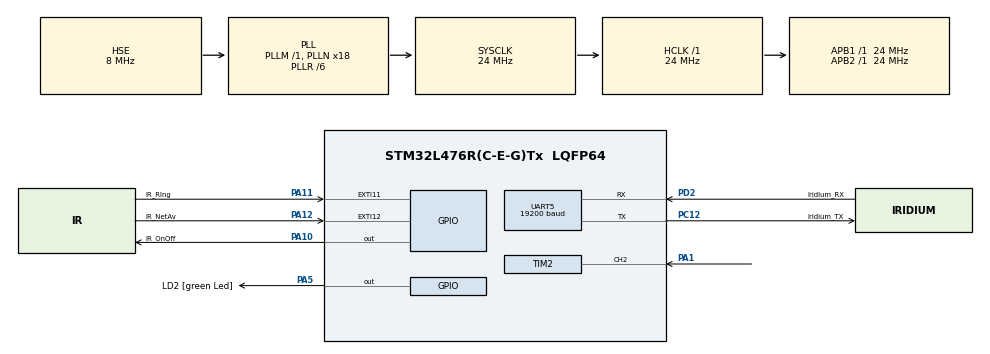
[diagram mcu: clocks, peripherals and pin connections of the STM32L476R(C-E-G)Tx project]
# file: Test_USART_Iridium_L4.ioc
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Dma.MEMTOMEM.1.Direction=DMA_MEMORY_TO_MEMORY
Dma.MEMTOMEM.1.Instance=DMA1_Channel2
Dma.MEMTOMEM.1.MemDataAlignment=DMA_MDATAALIGN_BYTE
Dma.MEMTOMEM.1.MemInc=DMA_MINC_ENABLE
Dma.MEMTOMEM.1.Mode=DMA_NORMAL
Dma.MEMTOMEM.1.PeriphDataAlignment=DMA_PDATAALIGN_BYTE
Dma.MEMTOMEM.1.PeriphInc=DMA_PINC_ENABLE
Dma.MEMTOMEM.1.Priority=DMA_PRIORITY_LOW
Dma.Request0=UART5_RX
Dma.Request1=MEMTOMEM
Dma.UART5_RX.0.Direction=DMA_PERIPH_TO_MEMORY
Dma.UART5_RX.0.Instance=DMA2_Channel2
Dma.UART5_RX.0.MemDataAlignment=DMA_MDATAALIGN_BYTE
Dma.UART5_RX.0.MemInc=DMA_MINC_ENABLE
Dma.UART5_RX.0.Mode=DMA_NORMAL
Dma.UART5_RX.0.PeriphDataAlignment=DMA_PDATAALIGN_BYTE
Dma.UART5_RX.0.PeriphInc=DMA_PINC_DISABLE
Dma.UART5_RX.0.Priority=DMA_PRIORITY_LOW
Mcu.Family=STM32L4
Mcu.Name=STM32L476R(C-E-G)Tx
Mcu.Package=LQFP64
NVIC.DMA1_Channel2_IRQn=true\:0\:0\:false\:false\:true\:true\:true
NVIC.DMA2_Channel2_IRQn=true\:0\:0\:false\:false\:true\:false\:true
NVIC.EXTI15_10_IRQn=true\:0\:0\:false\:false\:true\:true\:true
NVIC.PriorityGroup=NVIC_PRIORITYGROUP_4
NVIC.TIM2_IRQn=true\:0\:0\:false\:false\:true\:true\:true
NVIC.UART5_IRQn=true\:0\:0\:false\:false\:true\:true\:false
PA1.Signal=S_TIM2_CH2
PA10.GPIO_Label=IR_OnOff
PA10.Signal=GPIO_Output
PA11.GPIO_Label=IR_RIng
PA11.GPIO_PuPd=GPIO_PULLDOWN
PA11.Signal=GPXTI11
PA12.GPIO_Label=IR_NetAv
PA12.GPIO_PuPd=GPIO_PULLDOWN
PA12.Signal=GPXTI12
PA13\ (JTMS-SWDIO).GPIO_Label=TMS
PA13\ (JTMS-SWDIO).Mode=Serial_Wire
PA13\ (JTMS-SWDIO).Signal=SYS_JTMS-SWDIO
PA14\ (JTCK-SWCLK).GPIO_Label=TCK
PA14\ (JTCK-SWCLK).Mode=Serial_Wire
PA14\ (JTCK-SWCLK).Signal=SYS_JTCK-SWCLK
PA5.GPIO_Label=LD2 [green Led]
PA5.GPIO_ModeDefaultOutputPP=GPIO_MODE_OUTPUT_PP
PA5.GPIO_PuPd=GPIO_NOPULL
PA5.GPIO_Speed=GPIO_SPEED_FREQ_LOW
PA5.Signal=GPIO_Output
PB3\ (JTDO-TRACESWO).GPIO_Label=SWO
PB3\ (JTDO-TRACESWO).Signal=SYS_JTDO-SWO
PC12.GPIO_Label=Iridium_TX
PC12.Mode=Asynchronous
PC12.Signal=UART5_TX
PC14-OSC32_IN\ (PC14).Mode=LSE-External-Oscillator
PC14-OSC32_IN\ (PC14).Signal=RCC_OSC32_IN
PC15-OSC32_OUT\ (PC15).Mode=LSE-External-Oscillator
PC15-OSC32_OUT\ (PC15).Signal=RCC_OSC32_OUT
PD2.GPIO_Label=Iridium_RX
PD2.Mode=Asynchronous
PD2.Signal=UART5_RX
PH0-OSC_IN\ (PH0).Mode=HSE-External-Oscillator
PH0-OSC_IN\ (PH0).Signal=RCC_OSC_IN
PH1-OSC_OUT\ (PH1).Mode=HSE-External-Oscillator
PH1-OSC_OUT\ (PH1).Signal=RCC_OSC_OUT
ProjectManager.HeapSize=0x200
ProjectManager.StackSize=0x400
ProjectManager.TargetToolchain=TrueSTUDIO
RCC.ADCFreq_Value=32000000
RCC.AHBFreq_Value=24000000
RCC.APB1Freq_Value=24000000
RCC.APB1TimFreq_Value=24000000
RCC.APB2Freq_Value=24000000
RCC.APB2TimFreq_Value=24000000
RCC.CortexFreq_Value=24000000
RCC.HCLKFreq_Value=24000000
RCC.HSE_VALUE=8000000
RCC.HSI_VALUE=16000000
RCC.MSI_VALUE=4000000
RCC.PLLN=18
RCC.PLLR=RCC_PLLR_DIV6
RCC.PLLSourceVirtual=RCC_PLLSOURCE_HSE
RCC.PREFETCH_ENABLE=1
RCC.SYSCLKFreq_VALUE=24000000
RCC.SYSCLKSource=RCC_SYSCLKSOURCE_PLLCLK
RCC.USBFreq_Value=32000000
RCC.VCOOutputFreq_Value=144000000
SH.S_TIM2_CH2.0=TIM2_CH2,TriggerSource_TI2FP2
SH.S_TIM2_CH2.1=TIM2_CH2,Input_Capture2_from_TI2
TIM2.Channel-Input_Capture2_from_TI2=TIM_CHANNEL_2
TIM2.Channel-Output\ Compare1\ No\ Output=TIM_CHANNEL_1
TIM2.OCPolarity_1=TIM_OCPOLARITY_LOW
TIM2.Period=65536
TIM2.Pulse-Output\ Compare1\ No\ Output=1152000
UART5.BaudRate=19200
VP_TIM2_VS_ClockSourceINT.Mode=Internal
VP_TIM2_VS_ControllerModeReset.Mode=Reset Mode
VP_TIM2_VS_no_output1.Mode=Output Compare1 No Output
board=NUCLEO-L476RG

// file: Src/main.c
/* USER CODE BEGIN Header */
/**
  ******************************************************************************
  * @file           : main.c
  * @brief          : Main program body
  ******************************************************************************
  * @attention
  *
  * <h2><center>&copy; Copyright (c) 2020 STMicroelectronics.
  * All rights reserved.</center></h2>
  *
  * This software component is licensed by ST under BSD 3-Clause license,
  * the "License"; You may not use this file except in compliance with the
  * License. You may obtain a copy of the License at:
  *                        opensource.org/licenses/BSD-3-Clause
  *
  ******************************************************************************
  */
/* USER CODE END Header */

#include "main.h"

/* USER CODE BEGIN Includes */
#include "string.h"
#include "stdio.h"
#include "stdlib.h"
/* USER CODE END Includes */

/* USER CODE BEGIN PTD */
typedef enum
{
	IR_OK,
	IR_Rx_Error,
	IR_Tx_Error,
	IR_Rx_Incplt,
	IR_Rx_Timeout,
	IR_Data_Error,
	IR_Ack_Error,
	IR_CFG_Error,
	IR_MSG_UPLOAD_ERROR,
	IR_MSG_UPLOAD_OK,
	IR_SBDWB_STATUS_ERROR,
	IR_SBDWB_TIMEOUT,
	IR_SBDWB_MSGOVERRUN_ERROR,
	IR_SBDWB_CHECKSUM_ERROR,
	IR_SBDIX_SESSION_ERROR,
	IR_SBDIX_NO_NEW_MESSAGE,
	IR_SBDIX_MAIL_CHECK_ERROR,
	IR_SBDRT_Rx_Error,
	IR_CSQ_Ack_Error
} IR_Status_t;

typedef enum
{
	NONE,
	SBDWB,
	SBDIX,
	SBDRT

}Session_t;
typedef struct
{
	uint8_t MO_Status;
	uint32_t MO_MSN;
	uint8_t MT_Status;
	uint32_t MT_MSN,MT_length,MT_Queued;

} SBDX_Status_t;
/* USER CODE END PTD */

/* USER CODE BEGIN PD */
#define TX_BUFFER_SIZE 2046
#define RX_BUFFER_SIZE 2046
#define RM_BUFFER_SIZE 500
#define ASCII_MSG_BYTE_LEN 9

//control pin definitions
/* USER CODE END PD */

TIM_HandleTypeDef htim2;

UART_HandleTypeDef huart5;
DMA_HandleTypeDef hdma_uart5_rx;

DMA_HandleTypeDef hdma_memtomem_dma1_channel2;
/* USER CODE BEGIN PV */
int8_t RX_Flag,TIM_IDLE_Timeout;
Session_t Session_Flag;
uint8_t RX_Buffer[RX_BUFFER_SIZE];
uint8_t TX_Buffer[TX_BUFFER_SIZE];
uint8_t RM_Buffer[RM_BUFFER_SIZE];
uint32_t gnss_length;
uint32_t msg_len;
/* USER CODE END PV */

void SystemClock_Config(void);
static void MX_GPIO_Init(void);
static void MX_DMA_Init(void);
static void MX_UART5_Init(void);
static void MX_TIM2_Init(void);
/* USER CODE BEGIN PFP */
void DMA_Iridium_Periph_IRQHandler(UART_HandleTypeDef *huart);
void USART_Iridium_IRQHandler(UART_HandleTypeDef *huart);
IR_Status_t send_AT_CMD(char* cmd);
/* USER CODE END PFP */

/* USER CODE BEGIN 0 */
void  Clear_Buffer(uint8_t *buffer,uint32_t size)
{
	memset(buffer,0,size);
}

uint16_t calculate_checkSum(uint8_t* messagebuff, uint8_t size)
{
	uint32_t sum = 0;
	for (int i = 0; i < size; ++i)
	{
		sum+= messagebuff[i];
	}
	//return last 16 bits
	return (uint16_t)(sum & 0xFFFF);
}

IR_Status_t IR_Init_Module(void)
{
	 MX_GPIO_Init();
	 MX_DMA_Init();
	 MX_UART5_Init();
	 MX_TIM2_Init();

	  //send acknowledgement
	 char* msg;
	 if(send_AT_CMD("AT\r")== IR_OK)
	 {
	 	msg = strtok((char*)(&RM_Buffer[2]),"\r");
	 	if(strcmp(msg,(char*)"OK") != 0)
	 	{
	 	  return IR_Ack_Error;
	 	}
	 }else
	 {
	 	  return IR_Ack_Error;
	 }
	 	  //analyse message
	 	  Clear_Buffer(RM_Buffer,RM_BUFFER_SIZE);
	 	  return IR_OK;
}

IR_Status_t get_Signal_Strength(uint8_t* signal_Strength)
{
	  char* msg;
	  if(send_AT_CMD("AT\r")== IR_OK)
	  {
		  msg = strtok((char*)(&RM_Buffer[2]),"\r");
		  if(strcmp(msg,(char*)"OK") != 0)
		  {
		    return IR_Ack_Error;
		  }
	  }else
	  {
		  return IR_Ack_Error;
	  }
	  //analyse message
	  Clear_Buffer(RM_Buffer,RM_BUFFER_SIZE);
	  if( send_AT_CMD("AT&K0\r") == IR_OK)
	  {
			msg = strtok((char*)(&RM_Buffer[2]),"\r");
			if(strcmp(msg,(char*)"OK") != 0)
			{
				return IR_CFG_Error;
			}
	  }
	  else
	  {
		return IR_CFG_Error;
	  }
	  Clear_Buffer(RM_Buffer,RM_BUFFER_SIZE);
	  Session_Flag = SBDIX;
	  if(send_AT_CMD("AT+CSQ\r")!= IR_OK)
	  {
		  return IR_Data_Error;
	  }
	  char* sig = strtok((char*)&RM_Buffer[7],"\r\n");
	  msg =  strtok(NULL,"\r\n");
	  if(strcmp(msg,"OK") != 0)
	  {
		  return IR_CSQ_Ack_Error;
	  }

	  *signal_Strength = atoi(sig);
	  return IR_OK;
}
IR_Status_t start_SBD_Session(SBDX_Status_t* sbd)
{
	//increase prescaler to lengthen timeout
	htim2.Instance->PSC = 750;
	Session_Flag = SBDIX;
	char* cmd = "AT+SBDIX\r";
	int size = strlen(cmd);
		memcpy(TX_Buffer,cmd,size);
		if(HAL_UART_Transmit(&huart5,TX_Buffer,size,100) != HAL_OK)
		{
			return IR_Tx_Error;
		}
		__HAL_DMA_ENABLE_IT(&hdma_uart5_rx,DMA_IT_TC);
		if(__HAL_UART_GET_FLAG(&huart5,UART_FLAG_IDLE))
		{
			__HAL_UART_CLEAR_IDLEFLAG(&huart5);
		}
		__HAL_UART_ENABLE_IT(&huart5,UART_IT_IDLE);
		HAL_UART_Receive_DMA(&huart5,RX_Buffer,RX_BUFFER_SIZE);
		__HAL_TIM_DISABLE_IT(&htim2,TIM_IT_CC1);
		__HAL_TIM_ENABLE_IT(&htim2,TIM_IT_UPDATE);
		HAL_NVIC_ClearPendingIRQ(TIM2_IRQn);
		__HAL_TIM_ENABLE(&htim2);
		while(RX_Flag == RESET);
		if(RX_Flag == -2)
		{
			return IR_Rx_Timeout;
		}if(RX_Flag == -1)
		{
			return IR_Rx_Error;
		}
		RX_Flag = RESET;
		//decode SBD Message
		char* status = strtok((char*)&RM_Buffer[2],"\r\n");
		char* msg = strtok(NULL,"\r\n");
		if(strcmp(msg,"OK") != 0)
		{
			return IR_SBDIX_SESSION_ERROR;
		}
		char* temp = strtok(&status[7],", ");
		int temp_sbd[6] = {atoi(temp),0};
		int count = 1;
		while(temp != NULL)
		{
			temp = strtok(NULL, ", ");
			temp_sbd[count++] = atoi(temp);
		}
		sbd->MO_Status= temp_sbd[0];
		sbd->MO_MSN = temp_sbd[1];
		sbd->MT_Status = temp_sbd[2];
		sbd->MT_MSN = temp_sbd[3];
		sbd->MT_length = temp_sbd[4];
		sbd->MT_Queued = temp_sbd[5];
		//reset prescaler
		htim2.Instance->PSC = 1;
		return IR_OK;

}

IR_Status_t send_Bin_String(uint8_t* bin_string,uint32_t len)
{

	  char* msg;
	  if(send_AT_CMD("AT\r")== IR_OK)
	  {
		  msg = strtok((char*)(&RM_Buffer[2]),"\r");
		  if(strcmp(msg,(char*)"OK") != 0)
		  {
		    return IR_Ack_Error;
		  }
	  }else
	  {
		  return IR_Ack_Error;
	  }
	  //analyse message
	  Clear_Buffer(RM_Buffer,RM_BUFFER_SIZE);
	  if( send_AT_CMD("AT&K0\r") == IR_OK)
	  {
			msg = strtok((char*)(&RM_Buffer[2]),"\r");
			if(strcmp(msg,(char*)"OK") != 0)
			{
				return IR_CFG_Error;
			}
	  }
	  else
	  {
		return IR_CFG_Error;
	  }
	  Clear_Buffer(RM_Buffer,RM_BUFFER_SIZE);
	  //prepare Iridium for binary message reception
	  sprintf((char*)TX_Buffer,"AT+SBDWB=%lu\r",len);
	  if(send_AT_CMD((char*)TX_Buffer) == IR_OK)
	  {
		  Clear_Buffer(TX_Buffer,TX_BUFFER_SIZE);
		  msg = strtok((char*)(&RM_Buffer[2]),"\r");
		  if(strcmp(msg,(char*)"READY") != 0)
		  {
		  	return IR_CFG_Error;
		  }
	  }
	  Clear_Buffer(RM_Buffer,RM_BUFFER_SIZE);
	  //create a binary message complete with checksum
	  memcpy(TX_Buffer,bin_string,len);
	  uint16_t temp = calculate_checkSum(bin_string,len);
	  uint8_t check_sum[3]  = {(uint8_t)((temp&0xFF00)>>8),(uint8_t)temp&0xFF,0x0d};
	  memcpy(&TX_Buffer[len],check_sum,3);
	  //upload to message buffer
	  Session_Flag = SBDWB;
	  send_AT_CMD((char*)TX_Buffer);
	  Session_Flag = NONE;
	  msg = strtok((char*)(&RM_Buffer[2]),"\r\n");
	  int8_t ret_val = *(msg) -48;
	  msg = strtok(NULL,"\r\n");
	  if(ret_val < 0 || ret_val > 9)
	  {
		  return IR_SBDWB_STATUS_ERROR;
	  }
	  if(strcmp(msg,(char*)"OK") == 0)
	 {
		  switch(ret_val)
	  	  {
	  	  	  case 0:
	  		  	  return IR_MSG_UPLOAD_OK;
	  	  	  case 1:
	  		  	  return IR_SBDWB_TIMEOUT;
	  	  	  case 2:
	  		  	  return IR_SBDWB_CHECKSUM_ERROR;
	  	  	  case 3:
	  		  	  return IR_SBDWB_MSGOVERRUN_ERROR;
	  	  }
	 	 }
	  //decode return pack
	  //return status

	  return IR_MSG_UPLOAD_ERROR;
}

IR_Status_t send_String(char* string)
{
	  uint32_t len = strlen(string);
	  char* msg;
	  if(send_AT_CMD("AT\r")== IR_OK)
	  {
		  msg = strtok((char*)(&RM_Buffer[2]),"\r");
		  if(strcmp(msg,(char*)"OK") != 0)
		  {
		    return IR_Ack_Error;
		  }
	  }else
	  {
		  return IR_Ack_Error;
	  }
	  //analyse message
	  Clear_Buffer(RM_Buffer,RM_BUFFER_SIZE);
	  if( send_AT_CMD("AT&K0\r") == IR_OK)
	  {
			msg = strtok((char*)(&RM_Buffer[2]),"\r");
			if(strcmp(msg,(char*)"OK") != 0)
			{
				return IR_CFG_Error;
			}
	  }
	  else
	  {
		return IR_CFG_Error;
	  }
		Clear_Buffer(RM_Buffer,RM_BUFFER_SIZE);
		//create string with message
	    memcpy(TX_Buffer,(const char*)"AT+SBDWT=",ASCII_MSG_BYTE_LEN);
		memcpy(&TX_Buffer[ASCII_MSG_BYTE_LEN],string,len);
		__HAL_TIM_SET_COMPARE(&htim2,TIM_CHANNEL_1,0xFFFFFFFF);
		if(send_AT_CMD((char*)TX_Buffer) == IR_OK)
		{
			msg = strtok((char*)(&RM_Buffer[2]),"\r");
			if(strcmp(msg,(char*)"OK") != 0)
			{
				return IR_MSG_UPLOAD_ERROR;
			}
	}
	  return IR_MSG_UPLOAD_OK;
}

IR_Status_t recieve_String(uint8_t* MSG_Buff,uint32_t MSG_BUFF_SIZE, uint16_t *num_messages)
{
	  char* msg;
	  if(send_AT_CMD("AT\r")== IR_OK)
	  {
		  msg = strtok((char*)(&RM_Buffer[2]),"\r");
		  if(strcmp(msg,(char*)"OK") != 0)
		  {
		    return IR_Ack_Error;
		  }
	  }else
	  {
		  return IR_Ack_Error;
	  }
	  //analyse message
	  Clear_Buffer(RM_Buffer,RM_BUFFER_SIZE);
	  if( send_AT_CMD("AT&K0\r") == IR_OK)
	  {
			msg = strtok((char*)(&RM_Buffer[2]),"\r");
			if(strcmp(msg,(char*)"OK") != 0)
			{
				return IR_CFG_Error;
			}
	  }
	  else
	  {
		return IR_CFG_Error;
	  }
	  Clear_Buffer(RM_Buffer,RM_BUFFER_SIZE);
	SBDX_Status_t sbd;
	IR_Status_t flag = start_SBD_Session(&sbd);

	if(flag != IR_OK)
	{
		return flag;
	}
	//check SBDIX return status of mobile Terminated buffer
	switch(sbd.MT_Status)
	{
	case 0:
		return IR_SBDIX_NO_NEW_MESSAGE;
	case 2:
		return IR_SBDIX_MAIL_CHECK_ERROR;
	default:
		break;
	}
	// Download Message to your controller
	*num_messages = sbd.MT_Queued;
	Clear_Buffer(RM_Buffer,RM_BUFFER_SIZE);
	Session_Flag = SBDRT;
	if(send_AT_CMD("AT+SBDRT\r") != IR_OK)
	{
		return IR_SBDRT_Rx_Error;
	}
	// SBDRT return type : +SBDRT\r\n<msg>\r\n<return_status>
	char* temp = strtok((char*)&RM_Buffer[10],"\r\n");
	msg = strtok(NULL,"\r\n");
	 if(strcmp(msg,(char*)"OK") != 0)
	 {
		return IR_Ack_Error;
	 }
	memcpy(MSG_Buff,temp,strlen(temp));
 	return IR_OK;
}

void DMA_Iridium_Periph_IRQHandler(UART_HandleTypeDef *huart)
{

	huart->hdmarx->DmaBaseAddress->IFCR |= (DMA_IFCR_CTCIF2|DMA_IFCR_CGIF2);
	HAL_TIM_Base_Stop_IT(&htim2);
	__HAL_TIM_CLEAR_IT(&htim2, TIM_IT_CC1|TIM_IT_UPDATE);

	__HAL_UART_CLEAR_IDLEFLAG(&huart5);
	__HAL_UART_DISABLE_IT(&huart5,UART_IT_IDLE);
	__HAL_TIM_DISABLE_IT(&htim2,TIM_IT_CC1);

	if(__HAL_TIM_GET_FLAG(&htim2,TIM_FLAG_CC1))
	{
		__HAL_TIM_CLEAR_FLAG(&htim2,TIM_FLAG_CC1);
	}
	//begin transfer of collected data to memory
    uint8_t* ind = (uint8_t*)strchr((char*)RX_Buffer,'\r')+1;
	int len = (ind - RX_Buffer)+1; // chope off the \0
	msg_len = gnss_length -len-1;
	if(len > 0)
	{
	   	__HAL_DMA_ENABLE_IT(&hdma_memtomem_dma1_channel2,DMA_IT_TC);
	   	HAL_DMA_Start(&hdma_memtomem_dma1_channel2,(uint32_t)(&RX_Buffer[len]),(uint32_t)RM_Buffer,msg_len);
	}
	TIM_IDLE_Timeout = RESET;

}

void DMA_Iridium_MEM_IRQHandler(DMA_HandleTypeDef *hdma_mem)
{
	//clear the rx buffer
	Clear_Buffer(RX_Buffer,RX_BUFFER_SIZE);
	msg_len = strlen((char*)RM_Buffer);
	//check message to see if valid
	//valid messages follow the format "\r\nMSG_STRING\r\n"
	if((RM_Buffer[0] == '\r') && (RM_Buffer[1] =='\n') &&(RM_Buffer[msg_len - 2] == '\r') && (RM_Buffer[msg_len -1] == '\n' ))
	{
		RX_Flag = SET;
	}else
	{
		//invalid message returned
		RX_Flag = -1;
	}
	__HAL_DMA_CLEAR_FLAG(hdma_mem,DMA_FLAG_TC2);
	if(__HAL_DMA_GET_FLAG(hdma_mem,DMA_FLAG_HT2))
	{
		__HAL_DMA_CLEAR_FLAG(hdma_mem,DMA_FLAG_HT2);
	}
}

void USART_TIM_RTO_Handler(TIM_HandleTypeDef *htim)
{
	if(__HAL_TIM_GET_IT_SOURCE(htim,TIM_IT_CC1))
	{
		//clear interrupt
		htim->Instance->CR1 &= ~TIM_CR1_CEN;
		__HAL_TIM_CLEAR_IT(htim, TIM_IT_CC1|TIM_IT_UPDATE);
		//set reciever timeout flag
		TIM_IDLE_Timeout = 1;
		//disable timer
		HAL_TIM_Base_Stop_IT(htim);
		HAL_TIM_OC_Stop_IT(&htim2,TIM_CHANNEL_1);
		__HAL_TIM_SET_COUNTER(htim,0);
		USART_Iridium_IRQHandler(&huart5);
	}
	if(__HAL_TIM_GET_IT_SOURCE(htim,TIM_IT_UPDATE))
	{
		__HAL_TIM_CLEAR_IT(htim, TIM_IT_CC1|TIM_IT_UPDATE);
		if(Session_Flag == SBDIX)
		{
			Session_Flag = NONE;
		}else
		{
			TIM_IDLE_Timeout = 1;
			HAL_TIM_Base_Stop_IT(htim);
			USART_Iridium_IRQHandler(&huart5);
		}
		__NOP();

	}
}

void USART_Iridium_IRQHandler(UART_HandleTypeDef *huart)
{
	if(__HAL_UART_GET_IT_SOURCE(huart,UART_IT_IDLE))
	{
		uint32_t temp = huart->Instance->ISR;
		temp = huart->Instance->RDR;
		(void)temp;
		//check for reciever timeout
		if(TIM_IDLE_Timeout)
		{
			//check data counter
			HAL_UART_DMAStop(huart);
			gnss_length = (sizeof(RX_Buffer)/sizeof(RX_Buffer[0])) - __HAL_DMA_GET_COUNTER(huart->hdmarx);
			if(gnss_length > 0)
			{
				// transfer incomplete, move transfered data to message buffer
				uint8_t* ind;
				int len;
				if(Session_Flag == SBDWB)
				{
					ind = (uint8_t*)strchr((char*)RX_Buffer,'\r');
					len = strlen((char*)ind);
				}else if (Session_Flag == SBDRT)
				{
					ind = (uint8_t*)strchr((char*)RX_Buffer,'\r') + 1 ;
					len = strlen((char*)ind);
				}
				else
				{
					if(strcmp((char*)RX_Buffer,"AT+SBDIX\r") != 0)
					{
						ind = (uint8_t*)strchr((char*)RX_Buffer,'\r')+1;
						len = (ind - RX_Buffer) -1; // chope off the \0
						msg_len = gnss_length -len-1;
					}else
					{
						len = 0;
					}

				}

			    if(len > 0)
			    {
			    	__HAL_DMA_ENABLE_IT(&hdma_memtomem_dma1_channel2,DMA_IT_TC);
			    	if(Session_Flag == SBDWB || Session_Flag == SBDRT)
			    	{
			    		HAL_DMA_Start(&hdma_memtomem_dma1_channel2,(uint32_t)(ind),(uint32_t)RM_Buffer,len);
			    	}else
			    	{
			    		HAL_DMA_Start(&hdma_memtomem_dma1_channel2,(uint32_t)(&RX_Buffer[len+1]),(uint32_t)RM_Buffer,msg_len);
			    	}
			    }else
			    {
			    	RX_Flag = -1;
			    }
			    (void)ind;

			}else
			{
				//reciever timeout
				RX_Flag = -2;
			}
			TIM_IDLE_Timeout = 0;
			__HAL_UART_CLEAR_IDLEFLAG(huart);
			__HAL_UART_DISABLE_IT(huart,UART_IT_IDLE);
		}
		__HAL_UART_CLEAR_IDLEFLAG(huart);
	}
	if(__HAL_UART_GET_IT_SOURCE(huart,UART_IT_ERR))
	{
		//clear framing error
		if(__HAL_UART_GET_FLAG(huart,UART_FLAG_FE) == SET)
		{
			__HAL_UART_CLEAR_FEFLAG(huart);
		}
		//clear noise error
		if(__HAL_UART_GET_FLAG(huart,UART_FLAG_NE) == SET)
		{
			__HAL_UART_CLEAR_NEFLAG(huart);
		}
		//clear overun error
		if(__HAL_UART_GET_FLAG(huart,UART_FLAG_ORE) == SET)
		{
			uint8_t temp = huart->Instance->RDR;
			(void)temp;
			__HAL_UART_CLEAR_OREFLAG(huart);
		}
		//clear parity errors
		if(__HAL_UART_GET_FLAG(huart,UART_FLAG_PE) == SET)
		{
			__HAL_UART_CLEAR_PEFLAG(huart);
		}
	}
}

void Iridium_ControlPin_IRQHandler(void)
{
	if(__HAL_GPIO_EXTI_GET_IT(IR_RIng_Pin))
	{
		__HAL_GPIO_EXTI_CLEAR_IT(IR_RIng_Pin);
		//download messages
		HAL_GPIO_WritePin(LD2_GPIO_Port,LD2_Pin,SET);
	}

	if(__HAL_GPIO_EXTI_GET_IT(IR_NetAv_Pin))
	{
		__HAL_GPIO_EXTI_CLEAR_IT(IR_NetAv_Pin);

	}
}
IR_Status_t send_AT_CMD(char* cmd)

{
	int size = strlen(cmd);
	memcpy(TX_Buffer,cmd,size);
	if(HAL_UART_Transmit(&huart5,TX_Buffer,size,100) != HAL_OK)
	{
		return IR_Tx_Error;
	}
	__HAL_DMA_ENABLE_IT(&hdma_uart5_rx,DMA_IT_TC);
	if(__HAL_UART_GET_FLAG(&huart5,UART_FLAG_IDLE))
	{
		__HAL_UART_CLEAR_IDLEFLAG(&huart5);
	}
	__HAL_UART_ENABLE_IT(&huart5,UART_IT_IDLE);
	HAL_UART_Receive_DMA(&huart5,RX_Buffer,RX_BUFFER_SIZE);
	__HAL_TIM_ENABLE_IT(&htim2,TIM_IT_CC1);
	HAL_TIM_OC_Start_IT(&htim2, TIM_CHANNEL_1);
	HAL_TIM_Base_Start_IT(&htim2);
	while(RX_Flag == RESET);
	if(RX_Flag == -2)
	{
		return IR_Rx_Timeout;
	}if(RX_Flag == -1)
	{
		return IR_Rx_Error;
	}
	RX_Flag = 0;
	return IR_OK;
}
/* USER CODE END 0 */

int main(void)
{

  /* MCU Configuration--------------------------------------------------------*/

  /* Reset of all peripherals, Initializes the Flash interface and the Systick. */
  HAL_Init();

  /* Configure the system clock */
  SystemClock_Config();

  /* USER CODE BEGIN SysInit */
  	  IR_Init_Module();
  	  uint8_t signal;
  	  get_Signal_Strength(&signal);
  /* USER CODE END SysInit */

  /* Initialize all configured peripherals */

  /* USER CODE BEGIN 2 */
//==================TEST Transmission==========================//
//  uint8_t msg[24] = "This is A Test in Binary";
//  if(send_Bin_String(msg,24) == IR_MSG_UPLOAD_OK)
//  {
//	  SBDX_Status_t sbd;
//	  while(1)
//	  {
//		  if(start_SBD_Session(&sbd) == IR_OK)
//		 {
//		 		  //check return status
//		 		  if(sbd.MO_Status == 0)
//		 		  {
//		 			  //message sent
//		 			  HAL_GPIO_WritePin(LD2_GPIO_Port,LD2_Pin,SET);
//		 			  break;
//		 		  }
//		 		  Clear_Buffer(RM_Buffer,RM_BUFFER_SIZE);
//		 }
//	  }
//  }
//==================TEST Reception==========================//
//
//  uint8_t msg[50] = {0};
//  uint16_t num_messages;
//  if(recieve_String(msg,50,&num_messages) == IR_OK)
//  {
//
//  }
//================Test control pins=======================//

  /* USER CODE END 2 */

  /* Infinite loop */
  while (1)
  {

  }
}

void SystemClock_Config(void)
{
  RCC_OscInitTypeDef RCC_OscInitStruct = {0};
  RCC_ClkInitTypeDef RCC_ClkInitStruct = {0};
  RCC_PeriphCLKInitTypeDef PeriphClkInit = {0};

  /** Initializes the CPU, AHB and APB busses clocks
  */
  RCC_OscInitStruct.OscillatorType = RCC_OSCILLATORTYPE_HSE;
  RCC_OscInitStruct.HSEState = RCC_HSE_ON;
  RCC_OscInitStruct.PLL.PLLState = RCC_PLL_ON;
  RCC_OscInitStruct.PLL.PLLSource = RCC_PLLSOURCE_HSE;
  RCC_OscInitStruct.PLL.PLLM = 1;
  RCC_OscInitStruct.PLL.PLLN = 18;
  RCC_OscInitStruct.PLL.PLLP = RCC_PLLP_DIV7;
  RCC_OscInitStruct.PLL.PLLQ = RCC_PLLQ_DIV2;
  RCC_OscInitStruct.PLL.PLLR = RCC_PLLR_DIV6;
  if (HAL_RCC_OscConfig(&RCC_OscInitStruct) != HAL_OK)
  {
    Error_Handler();
  }
  /** Initializes the CPU, AHB and APB busses clocks
  */
  RCC_ClkInitStruct.ClockType = RCC_CLOCKTYPE_HCLK|RCC_CLOCKTYPE_SYSCLK
                              |RCC_CLOCKTYPE_PCLK1|RCC_CLOCKTYPE_PCLK2;
  RCC_ClkInitStruct.SYSCLKSource = RCC_SYSCLKSOURCE_PLLCLK;
  RCC_ClkInitStruct.AHBCLKDivider = RCC_SYSCLK_DIV1;
  RCC_ClkInitStruct.APB1CLKDivider = RCC_HCLK_DIV1;
  RCC_ClkInitStruct.APB2CLKDivider = RCC_HCLK_DIV1;

  if (HAL_RCC_ClockConfig(&RCC_ClkInitStruct, FLASH_LATENCY_1) != HAL_OK)
  {
    Error_Handler();
  }
  PeriphClkInit.PeriphClockSelection = RCC_PERIPHCLK_UART5;
  PeriphClkInit.Uart5ClockSelection = RCC_UART5CLKSOURCE_PCLK1;
  if (HAL_RCCEx_PeriphCLKConfig(&PeriphClkInit) != HAL_OK)
  {
    Error_Handler();
  }
  /** Configure the main internal regulator output voltage
  */
  if (HAL_PWREx_ControlVoltageScaling(PWR_REGULATOR_VOLTAGE_SCALE1) != HAL_OK)
  {
    Error_Handler();
  }
}

static void MX_TIM2_Init(void)
{

  TIM_ClockConfigTypeDef sClockSourceConfig = {0};
  TIM_SlaveConfigTypeDef sSlaveConfig = {0};
  TIM_MasterConfigTypeDef sMasterConfig = {0};
  TIM_OC_InitTypeDef sConfigOC = {0};
  TIM_IC_InitTypeDef sConfigIC = {0};

  htim2.Instance = TIM2;
  htim2.Init.Prescaler = 0;
  htim2.Init.CounterMode = TIM_COUNTERMODE_UP;
  htim2.Init.Period = 65536;
  htim2.Init.ClockDivision = TIM_CLOCKDIVISION_DIV1;
  htim2.Init.AutoReloadPreload = TIM_AUTORELOAD_PRELOAD_DISABLE;
  if (HAL_TIM_Base_Init(&htim2) != HAL_OK)
  {
    Error_Handler();
  }
  sClockSourceConfig.ClockSource = TIM_CLOCKSOURCE_INTERNAL;
  if (HAL_TIM_ConfigClockSource(&htim2, &sClockSourceConfig) != HAL_OK)
  {
    Error_Handler();
  }
  if (HAL_TIM_OC_Init(&htim2) != HAL_OK)
  {
    Error_Handler();
  }
  if (HAL_TIM_IC_Init(&htim2) != HAL_OK)
  {
    Error_Handler();
  }
  sSlaveConfig.SlaveMode = TIM_SLAVEMODE_RESET;
  sSlaveConfig.InputTrigger = TIM_TS_TI2FP2;
  sSlaveConfig.TriggerPolarity = TIM_INPUTCHANNELPOLARITY_RISING;
  sSlaveConfig.TriggerFilter = 0;
  if (HAL_TIM_SlaveConfigSynchronization(&htim2, &sSlaveConfig) != HAL_OK)
  {
    Error_Handler();
  }
  sMasterConfig.MasterOutputTrigger = TIM_TRGO_RESET;
  sMasterConfig.MasterSlaveMode = TIM_MASTERSLAVEMODE_DISABLE;
  if (HAL_TIMEx_MasterConfigSynchronization(&htim2, &sMasterConfig) != HAL_OK)
  {
    Error_Handler();
  }
  sConfigOC.OCMode = TIM_OCMODE_TIMING;
  sConfigOC.Pulse = 1152000;
  sConfigOC.OCPolarity = TIM_OCPOLARITY_LOW;
  sConfigOC.OCFastMode = TIM_OCFAST_DISABLE;
  if (HAL_TIM_OC_ConfigChannel(&htim2, &sConfigOC, TIM_CHANNEL_1) != HAL_OK)
  {
    Error_Handler();
  }
  sConfigIC.ICPolarity = TIM_INPUTCHANNELPOLARITY_RISING;
  sConfigIC.ICSelection = TIM_ICSELECTION_DIRECTTI;
  sConfigIC.ICPrescaler = TIM_ICPSC_DIV1;
  sConfigIC.ICFilter = 0;
  if (HAL_TIM_IC_ConfigChannel(&htim2, &sConfigIC, TIM_CHANNEL_2) != HAL_OK)
  {
    Error_Handler();
  }
  /* USER CODE BEGIN TIM2_Init 2 */
  __HAL_TIM_CLEAR_IT(&htim2,TIM_IT_UPDATE);
  /* USER CODE END TIM2_Init 2 */

}

static void MX_UART5_Init(void)
{

  huart5.Instance = UART5;
  huart5.Init.BaudRate = 19200;
  huart5.Init.WordLength = UART_WORDLENGTH_8B;
  huart5.Init.StopBits = UART_STOPBITS_1;
  huart5.Init.Parity = UART_PARITY_NONE;
  huart5.Init.Mode = UART_MODE_TX_RX;
  huart5.Init.HwFlowCtl = UART_HWCONTROL_NONE;
  huart5.Init.OverSampling = UART_OVERSAMPLING_16;
  huart5.Init.OneBitSampling = UART_ONE_BIT_SAMPLE_DISABLE;
  huart5.AdvancedInit.AdvFeatureInit = UART_ADVFEATURE_NO_INIT;
  if (HAL_UART_Init(&huart5) != HAL_OK)
  {
    Error_Handler();
  }

}

static void MX_DMA_Init(void)
{
  if(DMA2_Channel2->CCR != 0)
  {
   //clear channel to reset state
   hdma_uart5_rx.Instance = DMA2_Channel2;
   hdma_uart5_rx.DmaBaseAddress->ISR = DMA2->ISR;
   hdma_uart5_rx.ChannelIndex = 2;
   HAL_DMA_DeInit(&hdma_uart5_rx);
  }
  /* DMA controller clock enable */
  __HAL_RCC_DMA2_CLK_ENABLE();
  __HAL_RCC_DMA1_CLK_ENABLE();

  /* Configure DMA request hdma_memtomem_dma1_channel2 on DMA1_Channel2 */
  hdma_memtomem_dma1_channel2.Instance = DMA1_Channel2;
  hdma_memtomem_dma1_channel2.Init.Request = DMA_REQUEST_0;
  hdma_memtomem_dma1_channel2.Init.Direction = DMA_MEMORY_TO_MEMORY;
  hdma_memtomem_dma1_channel2.Init.PeriphInc = DMA_PINC_ENABLE;
  hdma_memtomem_dma1_channel2.Init.MemInc = DMA_MINC_ENABLE;
  hdma_memtomem_dma1_channel2.Init.PeriphDataAlignment = DMA_PDATAALIGN_BYTE;
  hdma_memtomem_dma1_channel2.Init.MemDataAlignment = DMA_MDATAALIGN_BYTE;
  hdma_memtomem_dma1_channel2.Init.Mode = DMA_NORMAL;
  hdma_memtomem_dma1_channel2.Init.Priority = DMA_PRIORITY_LOW;
  if (HAL_DMA_Init(&hdma_memtomem_dma1_channel2) != HAL_OK)
  {
    Error_Handler( );
  }

  /* DMA interrupt init */
  HAL_NVIC_ClearPendingIRQ(DMA2_Channel2_IRQn);
  /* DMA1_Channel2_IRQn interrupt configuration */
  HAL_NVIC_SetPriority(DMA1_Channel2_IRQn, 0, 0);
  HAL_NVIC_EnableIRQ(DMA1_Channel2_IRQn);
  /* DMA2_Channel2_IRQn interrupt configuration */
  HAL_NVIC_SetPriority(DMA2_Channel2_IRQn, 0, 0);
  HAL_NVIC_EnableIRQ(DMA2_Channel2_IRQn);

}

static void MX_GPIO_Init(void)
{
  GPIO_InitTypeDef GPIO_InitStruct = {0};

  /* GPIO Ports Clock Enable */
  __HAL_RCC_GPIOC_CLK_ENABLE();
  __HAL_RCC_GPIOH_CLK_ENABLE();
  __HAL_RCC_GPIOA_CLK_ENABLE();
  __HAL_RCC_GPIOD_CLK_ENABLE();
  __HAL_RCC_GPIOB_CLK_ENABLE();

  /*Configure GPIO pin Output Level */
  HAL_GPIO_WritePin(GPIOA, LD2_Pin|IR_OnOff_Pin, GPIO_PIN_RESET);

  /*Configure GPIO pins : LD2_Pin IR_OnOff_Pin */
  GPIO_InitStruct.Pin = LD2_Pin|IR_OnOff_Pin;
  GPIO_InitStruct.Mode = GPIO_MODE_OUTPUT_PP;
  GPIO_InitStruct.Pull = GPIO_NOPULL;
  GPIO_InitStruct.Speed = GPIO_SPEED_FREQ_LOW;
  HAL_GPIO_Init(GPIOA, &GPIO_InitStruct);

  /*Configure GPIO pins : IR_RIng_Pin IR_NetAv_Pin */
  GPIO_InitStruct.Pin = IR_RIng_Pin|IR_NetAv_Pin;
  GPIO_InitStruct.Mode = GPIO_MODE_IT_RISING;
  GPIO_InitStruct.Pull = GPIO_PULLDOWN;
  HAL_GPIO_Init(GPIOA, &GPIO_InitStruct);

  /* EXTI interrupt init*/
  HAL_NVIC_SetPriority(EXTI15_10_IRQn, 0, 0);
  HAL_NVIC_EnableIRQ(EXTI15_10_IRQn);

}

void Error_Handler(void)
{
}

/************************ (C) COPYRIGHT STMicroelectronics *****END OF FILE****/
